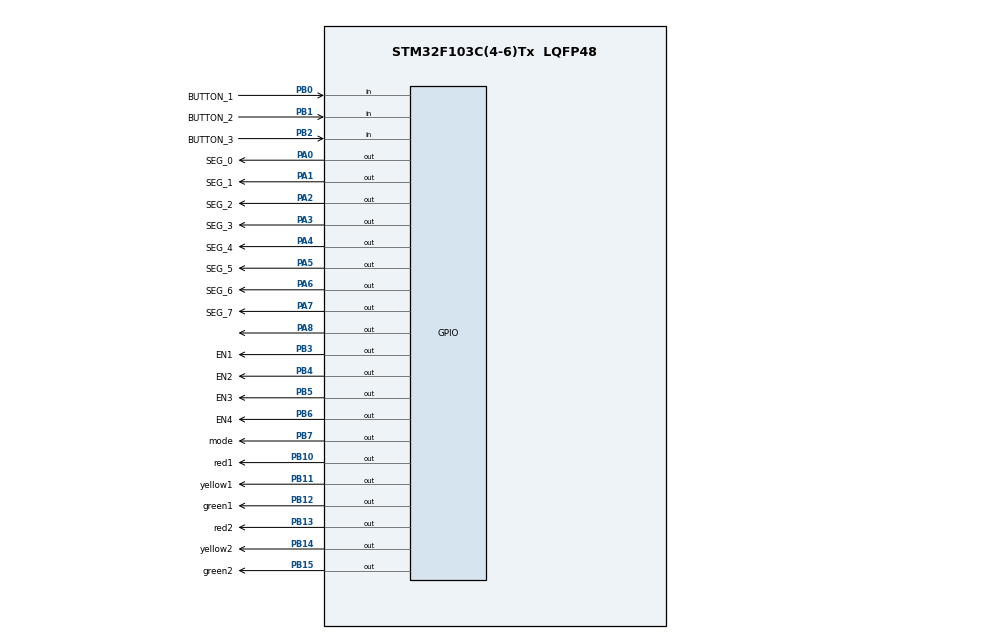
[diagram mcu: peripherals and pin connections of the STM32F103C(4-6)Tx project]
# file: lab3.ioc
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Mcu.Family=STM32F1
Mcu.Name=STM32F103C(4-6)Tx
Mcu.Package=LQFP48
NVIC.PriorityGroup=NVIC_PRIORITYGROUP_4
NVIC.TIM2_IRQn=true\:0\:0\:false\:false\:true\:true\:true\:true
PA0-WKUP.GPIO_Label=SEG_0
PA0-WKUP.Signal=GPIO_Output
PA1.GPIO_Label=SEG_1
PA1.Signal=GPIO_Output
PA2.GPIO_Label=SEG_2
PA2.Signal=GPIO_Output
PA3.GPIO_Label=SEG_3
PA3.Signal=GPIO_Output
PA4.GPIO_Label=SEG_4
PA4.Signal=GPIO_Output
PA5.GPIO_Label=SEG_5
PA5.Signal=GPIO_Output
PA6.GPIO_Label=SEG_6
PA6.Signal=GPIO_Output
PA7.GPIO_Label=SEG_7
PA7.Signal=GPIO_Output
PA8.Signal=GPIO_Output
PB0.GPIO_Label=BUTTON_1
PB0.GPIO_PuPd=GPIO_PULLUP
PB0.Signal=GPIO_Input
PB1.GPIO_Label=BUTTON_2
PB1.GPIO_PuPd=GPIO_PULLUP
PB1.Signal=GPIO_Input
PB10.GPIO_Label=red1
PB10.Signal=GPIO_Output
PB11.GPIO_Label=yellow1
PB11.Signal=GPIO_Output
PB12.GPIO_Label=green1
PB12.Signal=GPIO_Output
PB13.GPIO_Label=red2
PB13.Signal=GPIO_Output
PB14.GPIO_Label=yellow2
PB14.Signal=GPIO_Output
PB15.GPIO_Label=green2
PB15.Signal=GPIO_Output
PB2.GPIO_Label=BUTTON_3
PB2.GPIO_PuPd=GPIO_PULLUP
PB2.Signal=GPIO_Input
PB3.GPIO_Label=EN1
PB3.Signal=GPIO_Output
PB4.GPIO_Label=EN2
PB4.Signal=GPIO_Output
PB5.GPIO_Label=EN3
PB5.Signal=GPIO_Output
PB6.GPIO_Label=EN4
PB6.Signal=GPIO_Output
PB7.GPIO_Label=mode
PB7.Signal=GPIO_Output
ProjectManager.HeapSize=0x200
ProjectManager.StackSize=0x400
ProjectManager.TargetToolchain=STM32CubeIDE
RCC.APB1Freq_Value=8000000
RCC.APB2Freq_Value=8000000
TIM2.Period=9
TIM2.Prescaler=7999
VP_SYS_VS_ND.Mode=No_Debug
VP_TIM2_VS_ClockSourceINT.Mode=Internal
board=custom

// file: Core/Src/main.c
/* USER CODE BEGIN Header */
/**
  ******************************************************************************
  * @file           : main.c
  * @brief          : Main program body
  ******************************************************************************
  * @attention
  *
  * Copyright (c) 2024 STMicroelectronics.
  * All rights reserved.
  *
  * This software is licensed under terms that can be found in the LICENSE file
  * in the root directory of this software component.
  * If no LICENSE file comes with this software, it is provided AS-IS.
  *
  ******************************************************************************
  */
/* USER CODE END Header */
#include "main.h"

/* USER CODE BEGIN Includes */
#include "input_processing.h"
#include "input_reading.h"
#include "led7.h"
#include "timer.h"

/* USER CODE END Includes */

TIM_HandleTypeDef htim2;

void SystemClock_Config(void);
static void MX_GPIO_Init(void);
static void MX_TIM2_Init(void);

/* USER CODE BEGIN 0 */
#define NUM_TIMERS 10  // Number of timers you want to handle
#define TICK 10
int timer_flag[NUM_TIMERS];  // Timer flags for each timer
int timer_counter[NUM_TIMERS];  // Timer counters for each timer

void setTimer(int timer_id, int duration)
{
	if (timer_id >= 0 && timer_id < NUM_TIMERS)
	    {
	        timer_counter[timer_id] = duration / TICK;
	        timer_flag[timer_id] = 0;
	    }
}
void timerRun(void)
{
    for (int i = 0; i < NUM_TIMERS; i++)
    {
        if (timer_counter[i] >= 0)
        {
            timer_counter[i]--;  // Decrease the counter

            if (timer_counter[i] <= 0)
            {
                timer_flag[i] = 1;  // Timer expired
                // Optional: Trigger a specific action for timer expiration
            }
        }
    }
}
int numnn=19;
const uint16_t digit_pins[] = {GPIO_PIN_3, GPIO_PIN_4, GPIO_PIN_5, GPIO_PIN_6};
#define MAX_LED 4
int led_buffer[MAX_LED];
int digit_indexxx = 0;
void update7SEG(int index) {
	    switch (index) {
	        case 0:
	            display1(led_buffer[0]);
				HAL_GPIO_WritePin(EN1_GPIO_Port, EN1_Pin, 0);
				HAL_GPIO_WritePin(EN2_GPIO_Port, EN2_Pin, 1);
				HAL_GPIO_WritePin(EN3_GPIO_Port, EN3_Pin, 1);
				HAL_GPIO_WritePin(EN4_GPIO_Port, EN4_Pin, 1);
	            break;
	        case 1:
	            display1(led_buffer[1]);
				HAL_GPIO_WritePin(EN1_GPIO_Port, EN1_Pin, 1);
				HAL_GPIO_WritePin(EN2_GPIO_Port, EN2_Pin, 0);
				HAL_GPIO_WritePin(EN3_GPIO_Port, EN3_Pin, 1);
				HAL_GPIO_WritePin(EN4_GPIO_Port, EN4_Pin, 1);
	            break;
	        case 2:
	            display1(led_buffer[2]);
				HAL_GPIO_WritePin(EN1_GPIO_Port, EN1_Pin, 1);
				HAL_GPIO_WritePin(EN2_GPIO_Port, EN2_Pin, 1);
				HAL_GPIO_WritePin(EN3_GPIO_Port, EN3_Pin, 0);
				HAL_GPIO_WritePin(EN4_GPIO_Port, EN4_Pin, 1);
	            break;
	        case 3:
	            display1(led_buffer[3]);
				HAL_GPIO_WritePin(EN1_GPIO_Port, EN1_Pin, 1);
				HAL_GPIO_WritePin(EN2_GPIO_Port, EN2_Pin, 1);
				HAL_GPIO_WritePin(EN3_GPIO_Port, EN3_Pin, 1);
				HAL_GPIO_WritePin(EN4_GPIO_Port, EN4_Pin, 0);
	            break;
	        default:
	            break;
	    }
	}

	int countabc=0;
void HAL_TIM_PeriodElapsedCallback (TIM_HandleTypeDef *htim)
{
	if (htim->Instance == TIM2){
	        timerRun();

	  	  if (timer_flag[1] == 1){
	  		timeledlight();
	  		  setTimer(1,10);
	  	  }
	  	if (timer_flag[2] == 1) {
	  		//button_reading();
	  				setTimer(2, 500);
	  			}
	  	if (timer_flag[3] == 1) {
	  		 normalstate();
			setTimer(3, 500);
		}

	    }
	}

/* USER CODE END 0 */

int main(void)
{

  /* MCU Configuration--------------------------------------------------------*/

  /* Reset of all peripherals, Initializes the Flash interface and the Systick. */
  HAL_Init();

  /* Configure the system clock */
  SystemClock_Config();

  /* Initialize all configured peripherals */
  MX_GPIO_Init();
  MX_TIM2_Init();
  /* USER CODE BEGIN 2 */
  HAL_TIM_Base_Start_IT(&htim2);
  /* USER CODE END 2 */

  /* Infinite loop */
  /* USER CODE BEGIN WHILE */
  setTimer(1,10);
  setTimer(2,1000);
  setTimer(3,1000);
  setTimer(4,250);
 // int abc=11;
  while (1)
  {
//		led_run();
//	  //fsm_for_input_processing();
//////	  //runled7();
	  //HAL_GPIO_WritePin(GPIOB, mode_Pin, 1);
 // HAL_Delay(1000);
////////	  //button_reading();
////	 display2number(15,97);
//	  HAL_GPIO_TogglePin(GPIOB, GPIO_PIN_7);
//	  display1(9);
	  //HAL_GPIO_WritePin(GPIOB, GPIO_PIN_8, 0);
//	  if(abc<=0) abc=12;

	  fsm_for_input_processing();button_reading();
    /* USER CODE END WHILE */

  }
}

void SystemClock_Config(void)
{
  RCC_OscInitTypeDef RCC_OscInitStruct = {0};
  RCC_ClkInitTypeDef RCC_ClkInitStruct = {0};

  /** Initializes the RCC Oscillators according to the specified parameters
  * in the RCC_OscInitTypeDef structure.
  */
  RCC_OscInitStruct.OscillatorType = RCC_OSCILLATORTYPE_HSI;
  RCC_OscInitStruct.HSIState = RCC_HSI_ON;
  RCC_OscInitStruct.HSICalibrationValue = RCC_HSICALIBRATION_DEFAULT;
  RCC_OscInitStruct.PLL.PLLState = RCC_PLL_NONE;
  if (HAL_RCC_OscConfig(&RCC_OscInitStruct) != HAL_OK)
  {
    Error_Handler();
  }

  /** Initializes the CPU, AHB and APB buses clocks
  */
  RCC_ClkInitStruct.ClockType = RCC_CLOCKTYPE_HCLK|RCC_CLOCKTYPE_SYSCLK
                              |RCC_CLOCKTYPE_PCLK1|RCC_CLOCKTYPE_PCLK2;
  RCC_ClkInitStruct.SYSCLKSource = RCC_SYSCLKSOURCE_HSI;
  RCC_ClkInitStruct.AHBCLKDivider = RCC_SYSCLK_DIV1;
  RCC_ClkInitStruct.APB1CLKDivider = RCC_HCLK_DIV1;
  RCC_ClkInitStruct.APB2CLKDivider = RCC_HCLK_DIV1;

  if (HAL_RCC_ClockConfig(&RCC_ClkInitStruct, FLASH_LATENCY_0) != HAL_OK)
  {
    Error_Handler();
  }
}

static void MX_TIM2_Init(void)
{

  TIM_ClockConfigTypeDef sClockSourceConfig = {0};
  TIM_MasterConfigTypeDef sMasterConfig = {0};

  htim2.Instance = TIM2;
  htim2.Init.Prescaler = 7999;
  htim2.Init.CounterMode = TIM_COUNTERMODE_UP;
  htim2.Init.Period = 9;
  htim2.Init.ClockDivision = TIM_CLOCKDIVISION_DIV1;
  htim2.Init.AutoReloadPreload = TIM_AUTORELOAD_PRELOAD_DISABLE;
  if (HAL_TIM_Base_Init(&htim2) != HAL_OK)
  {
    Error_Handler();
  }
  sClockSourceConfig.ClockSource = TIM_CLOCKSOURCE_INTERNAL;
  if (HAL_TIM_ConfigClockSource(&htim2, &sClockSourceConfig) != HAL_OK)
  {
    Error_Handler();
  }
  sMasterConfig.MasterOutputTrigger = TIM_TRGO_RESET;
  sMasterConfig.MasterSlaveMode = TIM_MASTERSLAVEMODE_DISABLE;
  if (HAL_TIMEx_MasterConfigSynchronization(&htim2, &sMasterConfig) != HAL_OK)
  {
    Error_Handler();
  }

}

static void MX_GPIO_Init(void)
{
  GPIO_InitTypeDef GPIO_InitStruct = {0};

  /* GPIO Ports Clock Enable */
  __HAL_RCC_GPIOA_CLK_ENABLE();
  __HAL_RCC_GPIOB_CLK_ENABLE();

  /*Configure GPIO pin Output Level */
  HAL_GPIO_WritePin(GPIOA, SEG_0_Pin|SEG_1_Pin|SEG_2_Pin|SEG_3_Pin
                          |SEG_4_Pin|SEG_5_Pin|SEG_6_Pin|SEG_7_Pin
                          |GPIO_PIN_8, GPIO_PIN_RESET);

  /*Configure GPIO pin Output Level */
  HAL_GPIO_WritePin(GPIOB, red1_Pin|yellow1_Pin|green1_Pin|red2_Pin
                          |yellow2_Pin|green2_Pin|EN1_Pin|EN2_Pin
                          |EN3_Pin|EN4_Pin|mode_Pin, GPIO_PIN_RESET);

  /*Configure GPIO pins : SEG_0_Pin SEG_1_Pin SEG_2_Pin SEG_3_Pin
                           SEG_4_Pin SEG_5_Pin SEG_6_Pin SEG_7_Pin
                           PA8 */
  GPIO_InitStruct.Pin = SEG_0_Pin|SEG_1_Pin|SEG_2_Pin|SEG_3_Pin
                          |SEG_4_Pin|SEG_5_Pin|SEG_6_Pin|SEG_7_Pin
                          |GPIO_PIN_8;
  GPIO_InitStruct.Mode = GPIO_MODE_OUTPUT_PP;
  GPIO_InitStruct.Pull = GPIO_NOPULL;
  GPIO_InitStruct.Speed = GPIO_SPEED_FREQ_LOW;
  HAL_GPIO_Init(GPIOA, &GPIO_InitStruct);

  /*Configure GPIO pins : BUTTON_1_Pin BUTTON_2_Pin BUTTON_3_Pin */
  GPIO_InitStruct.Pin = BUTTON_1_Pin|BUTTON_2_Pin|BUTTON_3_Pin;
  GPIO_InitStruct.Mode = GPIO_MODE_INPUT;
  GPIO_InitStruct.Pull = GPIO_PULLUP;
  HAL_GPIO_Init(GPIOB, &GPIO_InitStruct);

  /*Configure GPIO pins : red1_Pin yellow1_Pin green1_Pin red2_Pin
                           yellow2_Pin green2_Pin EN1_Pin EN2_Pin
                           EN3_Pin EN4_Pin mode_Pin */
  GPIO_InitStruct.Pin = red1_Pin|yellow1_Pin|green1_Pin|red2_Pin
                          |yellow2_Pin|green2_Pin|EN1_Pin|EN2_Pin
                          |EN3_Pin|EN4_Pin|mode_Pin;
  GPIO_InitStruct.Mode = GPIO_MODE_OUTPUT_PP;
  GPIO_InitStruct.Pull = GPIO_NOPULL;
  GPIO_InitStruct.Speed = GPIO_SPEED_FREQ_LOW;
  HAL_GPIO_Init(GPIOB, &GPIO_InitStruct);

}

void Error_Handler(void)
{
  __disable_irq();
  while (1)
  {
  }
}
